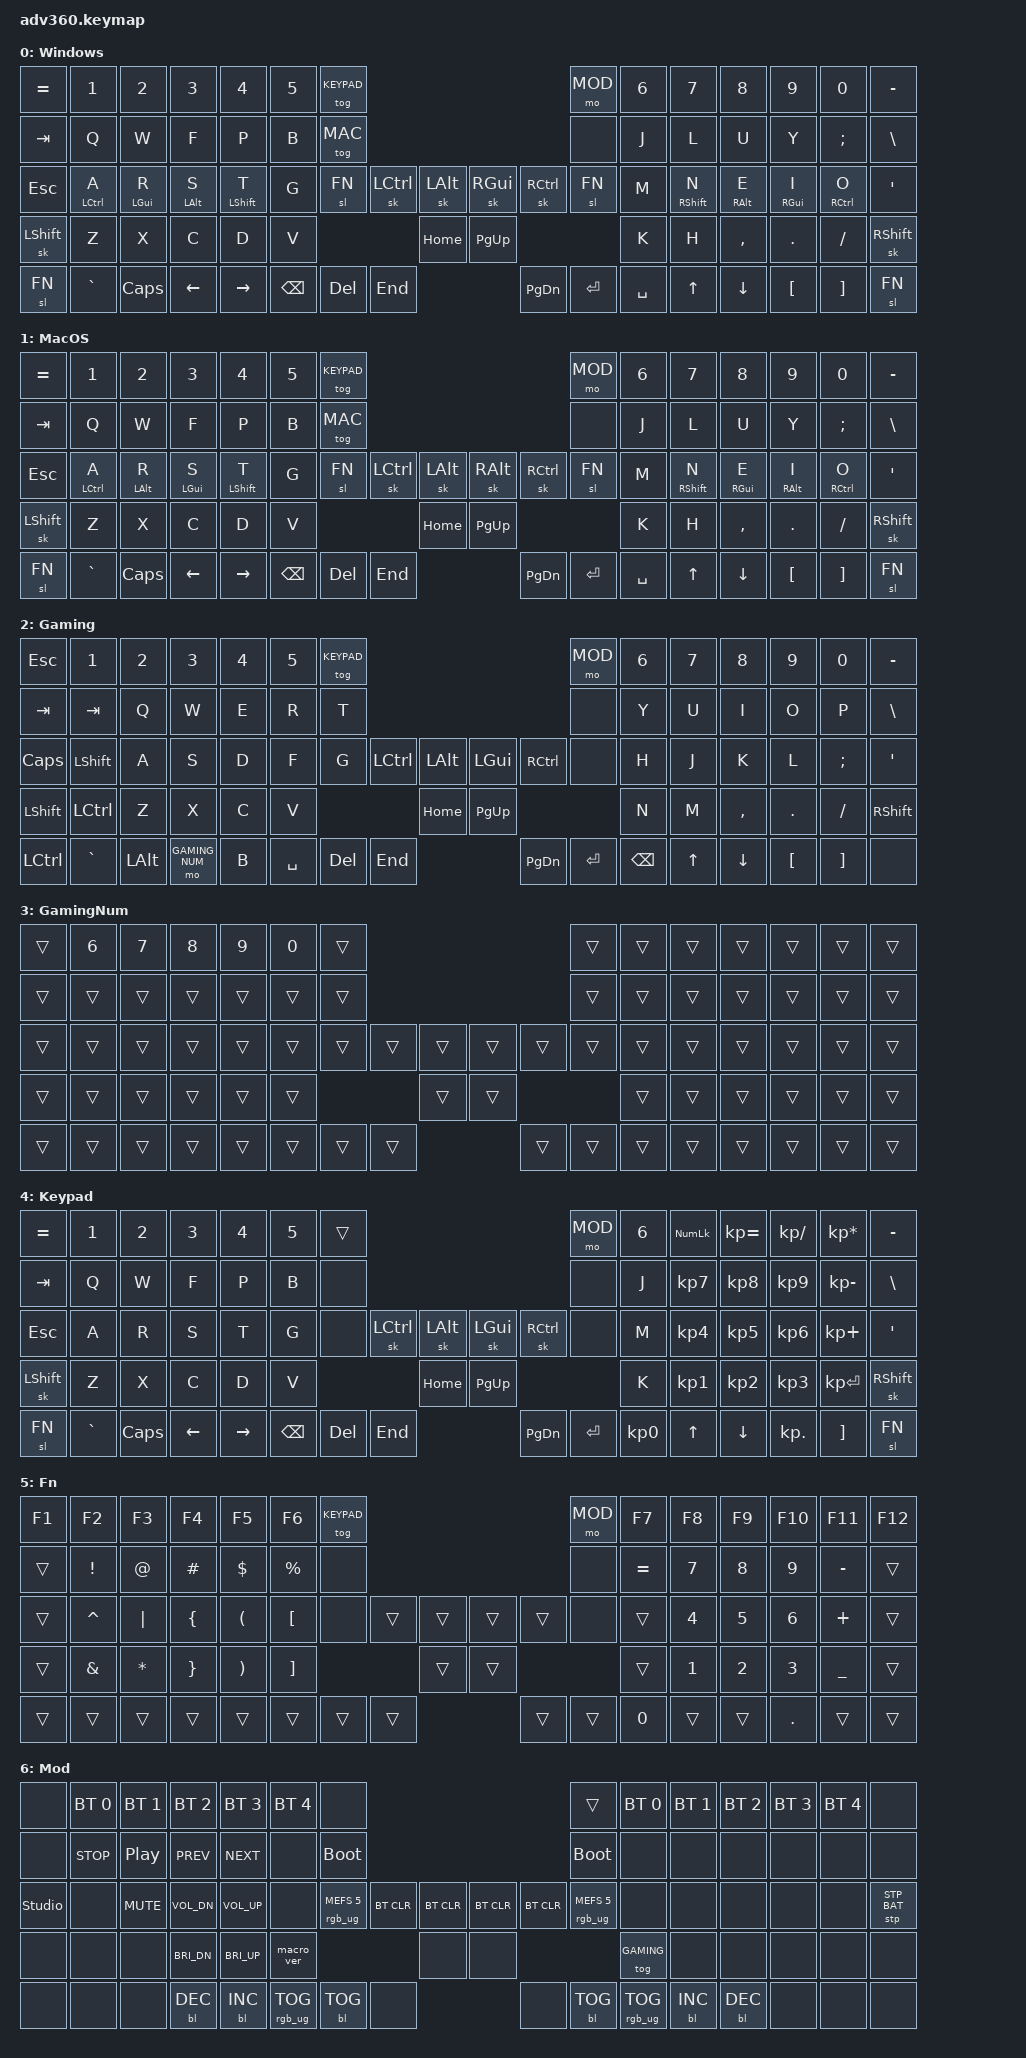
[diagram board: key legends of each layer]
#include <behaviors.dtsi>
#include <dt-bindings/zmk/keys.h>
#include <dt-bindings/zmk/bt.h>
#include <dt-bindings/zmk/rgb.h>
#include <dt-bindings/zmk/stp.h>
#include <dt-bindings/zmk/backlight.h>
#include <dt-bindings/zmk/pointing.h>

#define WIN 0
#define MAC 1
#define GAMING 2
#define GAMING_NUM 3
#define KEYPAD 4
#define FN 5
#define MOD 6

/ {
    behaviors {
      #include "macros.dtsi"
      #include "version.dtsi"

      sk: sticky_key {
          compatible = "zmk,behavior-sticky-key";
          label = "STICKY_KEY";
          #binding-cells = <1>;
          release-after-ms = <2000>;
          quick-release;
          ignore-modifiers;
          bindings = <&kp>;
      };

      sl: sticky_layer {
          compatible = "zmk,behavior-sticky-key";
          label = "STICKY_LAYER";
          #binding-cells = <1>;
          release-after-ms = <2000>;
          bindings = <&mo>;
      };

      hm: homerow_mods {
          compatible = "zmk,behavior-hold-tap";
          label = "HOMEROW_MODS";
          #binding-cells = <2>;
          tapping-term-ms = <200>;
          quick-tap-ms = <175>;
          flavor = "tap-preferred";
          bindings = <&kp>, <&kp>;
      };
    };

  keymap {
    compatible = "zmk,keymap";

    win_layer {
      display-name = "Windows";
      bindings = <
        &kp EQUAL &kp N1      &kp N2     &kp N3     &kp N4      &kp N5 &tog KEYPAD                                                           &mo MOD  &kp N6 &kp N7      &kp N8     &kp N9     &kp N0      &kp MINUS
        &kp TAB   &kp Q       &kp W      &kp F      &kp P       &kp B  &tog MAC                                                              &none    &kp J  &kp L       &kp U      &kp Y      &kp SEMI    &kp BSLH
        &kp ESC   &hm LCTRL A &hm LGUI R &hm LALT S &hm LSHFT T &kp G  &sl FN          &sk LCTRL &sk LALT &sk RGUI  &sk RCTRL                &sl FN   &kp M  &hm RSHFT N &hm RALT E &hm RGUI I &hm RCTRL O &kp SQT
        &sk LSHFT &kp Z       &kp X      &kp C      &kp D       &kp V                            &kp HOME &kp PG_UP                                   &kp K  &kp H       &kp COMMA  &kp DOT    &kp FSLH    &sk RSHFT
        &sl FN    &kp GRAVE   &kp CAPS   &kp LEFT   &kp RIGHT                 &kp BSPC &kp DEL   &kp END  &kp PG_DN &kp ENTER &kp SPACE                      &kp UP      &kp DOWN   &kp LBKT   &kp RBKT    &sl FN
      >;
    };

    mac_layer {
      display-name = "MacOS";
      bindings = <
        &kp EQUAL &kp N1      &kp N2      &kp N3     &kp N4      &kp N5 &tog KEYPAD                                                           &mo MOD  &kp N6 &kp N7      &kp N8     &kp N9      &kp N0      &kp MINUS
        &kp TAB   &kp Q       &kp W       &kp F      &kp P       &kp B  &tog MAC                                                              &none    &kp J  &kp L       &kp U      &kp Y       &kp SEMI    &kp BSLH
        &kp ESC   &hm LCTRL A &hm LALT R &hm LGUI S &hm LSHFT T &kp G  &sl FN          &sk LCTRL &sk LALT &sk RALT  &sk RCTRL                &sl FN   &kp M  &hm RSHFT N &hm RGUI E &hm RALT I &hm RCTRL O &kp SQT
        &sk LSHFT &kp Z       &kp X       &kp C      &kp D       &kp V                            &kp HOME &kp PG_UP                                   &kp K  &kp H       &kp COMMA  &kp DOT     &kp FSLH    &sk RSHFT
        &sl FN    &kp GRAVE   &kp CAPS    &kp LEFT   &kp RIGHT                 &kp BSPC &kp DEL   &kp END  &kp PG_DN &kp ENTER &kp SPACE                      &kp UP      &kp DOWN   &kp LBKT    &kp RBKT    &sl FN
      >;
    };

    gaming_layer {
      display-name = "Gaming";
      bindings = <
        &kp ESC   &kp N1    &kp N2   &kp N3          &kp N4  &kp N5 &tog KEYPAD                                                           &mo MOD   &kp N6 &kp N7 &kp N8    &kp N9   &kp N0   &kp MINUS
        &kp TAB   &kp TAB   &kp Q    &kp W           &kp E   &kp R  &kp T                                                                 &none     &kp Y  &kp U  &kp I     &kp O    &kp P    &kp BSLH
        &kp CAPS  &kp LSHFT &kp A    &kp S           &kp D   &kp F  &kp G           &kp LCTRL &kp LALT &kp LGUI  &kp RCTRL                &none     &kp H  &kp J  &kp K     &kp L    &kp SEMI &kp SQT
        &kp LSHFT &kp LCTRL &kp Z    &kp X           &kp C   &kp V                            &kp HOME &kp PG_UP                                    &kp N  &kp M  &kp COMMA &kp DOT  &kp FSLH &kp RSHFT
        &kp LCTRL &kp GRAVE &kp LALT &mo GAMING_NUM  &kp B                 &kp SPACE &kp DEL  &kp END  &kp PG_DN &kp ENTER &kp BSPC                        &kp UP &kp DOWN  &kp LBKT &kp RBKT &none
      >;
    };

    gaming_num_layer {
      display-name = "GamingNum";
      bindings = <
        &trans &kp N6 &kp N7 &kp N8 &kp N9 &kp N0 &trans                                                           &trans &trans &trans &trans &trans &trans &trans
        &trans &trans &trans &trans &trans &trans &trans                                                           &trans &trans &trans &trans &trans &trans &trans
        &trans &trans &trans &trans &trans &trans &trans        &trans &trans &trans &trans                        &trans &trans &trans &trans &trans &trans &trans
        &trans &trans &trans &trans &trans &trans                      &trans &trans                                      &trans &trans &trans &trans &trans &trans
        &trans &trans &trans &trans &trans               &trans &trans &trans &trans &trans &trans                               &trans &trans &trans &trans &trans
      >;
    };

    keypad_layer {
      display-name = "Keypad";
      bindings = <
        &kp EQUAL &kp N1    &kp N2   &kp N3   &kp N4     &kp N5 &trans                                                           &mo MOD &kp N6 &kp KP_NUM &kp KP_EQUAL &kp KP_DIVIDE &kp KP_MULTIPLY &kp MINUS
        &kp TAB   &kp Q     &kp W    &kp F    &kp P      &kp B  &none                                                            &none   &kp J  &kp KP_N7  &kp KP_N8    &kp KP_N9     &kp KP_MINUS    &kp BSLH
        &kp ESC   &kp A     &kp R    &kp S    &kp T      &kp G  &none           &sk LCTRL &sk LALT &sk LGUI  &sk RCTRL            &none   &kp M  &kp KP_N4  &kp KP_N5    &kp KP_N6     &kp KP_PLUS     &kp SQT
        &sk LSHFT &kp Z     &kp X    &kp C    &kp D      &kp V                            &kp HOME &kp PG_UP                              &kp K  &kp KP_N1  &kp KP_N2    &kp KP_N3     &kp KP_ENTER    &sk RSHFT
        &sl FN    &kp GRAVE &kp CAPS &kp LEFT &kp RIGHT                &kp BSPC &kp DEL   &kp END  &kp PG_DN &kp ENTER &kp KP_N0                 &kp UP     &kp DOWN     &kp KP_DOT    &kp RBKT        &sl FN
      >;
    };

    fn_layer {
      display-name = "Fn";
      bindings = <
        &kp F1 &kp F2    &kp F3    &kp F4   &kp F5   &kp F6    &tog KEYPAD                                                           &mo MOD &kp F7    &kp F8   &kp F9   &kp F10 &kp F11   &kp F12
        &trans &kp EXCL  &kp AT    &kp HASH &kp DLLR &kp PRCNT &none                                                                 &none   &kp EQUAL &kp N7   &kp N8   &kp N9  &kp MINUS &trans
        &trans &kp CARET &kp PIPE  &kp LBRC &kp LPAR &kp LBKT  &none         &trans &trans &trans &trans                             &none   &trans    &kp N4   &kp N5   &kp N6  &kp PLUS  &trans
        &trans &kp AMPS  &kp ASTRK &kp RBRC &kp RPAR &kp RBKT                       &trans &trans                                            &trans    &kp N1   &kp N2   &kp N3  &kp UNDER &trans
        &trans &trans    &trans    &trans   &trans                    &trans &trans &trans &trans &trans &kp N0                                       &trans   &trans   &kp DOT &trans    &trans
      >;
    };

    mod_layer {
      display-name = "Mod";
      bindings = <
        &none &bt BT_SEL 0 &bt BT_SEL 1 &bt BT_SEL 2 &bt BT_SEL 3 &bt BT_SEL 4 &none                                                                                     &trans                 &bt BT_SEL 0 &bt BT_SEL 1 &bt BT_SEL 2 &bt BT_SEL 3 &bt BT_SEL 4 &none
        &none &kp C_STOP   &kp C_PP     &kp C_PREV   &kp C_NEXT   &none        &bootloader                                                                               &bootloader            &none        &none        &none        &none        &none        &none
        &studio_unlock &none &kp C_MUTE &kp C_VOL_DN &kp C_VOL_UP &none        &rgb_ug RGB_MEFS_CMD 5  &bt BT_CLR &bt BT_CLR &bt BT_CLR &bt BT_CLR                        &rgb_ug RGB_MEFS_CMD 5 &none        &none        &none        &none        &none        &stp STP_BAT
        &none &none        &none        &kp C_BRI_DN &kp C_BRI_UP &macro_ver                                      &none      &none                                                              &tog GAMING  &none        &none        &none        &none        &none
        &none &none        &none        &bl BL_DEC   &bl BL_INC                               &rgb_ug RGB_TOG &bl BL_TOG &none      &none      &bl BL_TOG &rgb_ug RGB_TOG                                    &bl BL_INC   &bl BL_DEC   &none        &none        &none
      >;
    };
  };
};
